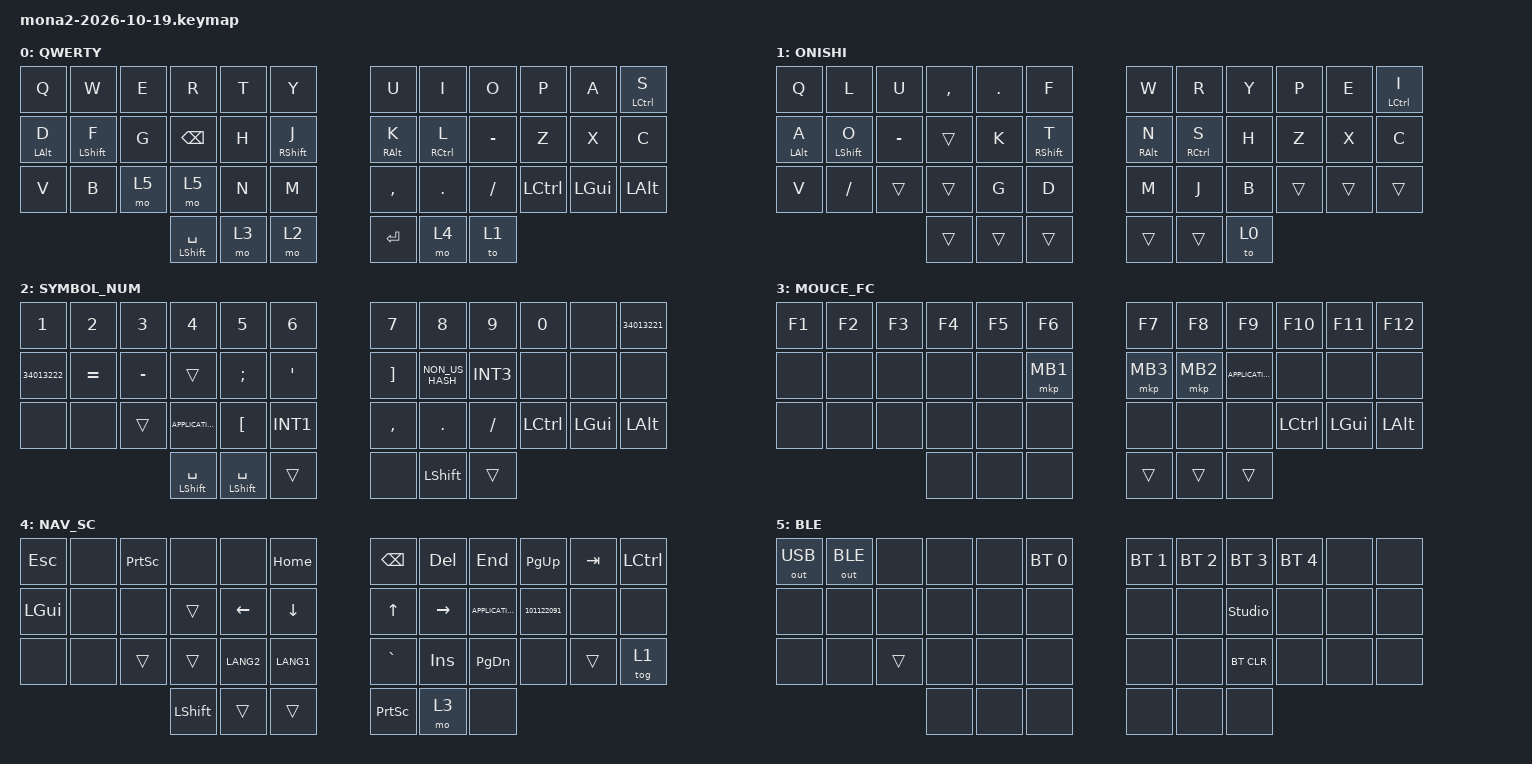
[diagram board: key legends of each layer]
/*
 * Generated by Keyboard Abyss - moNa2 — 2026-10-19 v2
 * https://abyss.keyboard-hub.com/keymap/01M5A1RRRCXY7TNHQ26MSEYFZY
 */

/ {
    keymap {
        compatible = "zmk,keymap";

        qwerty_layer {
            display-name = "QWERTY";
            bindings = <
                &kp Q    &kp W    &kp E    &kp R    &kp T    &kp Y    &kp U    &kp I    &kp O    &kp P    &kp A    &mt LEFT_CONTROL S
                &mt LEFT_ALT D    &mt LEFT_SHIFT F    &kp G    &kp BACKSPACE    &kp H    &mt RIGHT_SHIFT J    &mt RIGHT_ALT K    &mt RIGHT_CONTROL L    &kp MINUS    &kp Z    &kp X    &kp C
                &kp V    &kp B    &mo 5    &mo 5    &kp N    &kp M    &kp COMMA    &kp PERIOD    &kp SLASH    &kp LEFT_CONTROL    &kp LEFT_GUI    &kp LEFT_ALT
                &mt LEFT_SHIFT SPACE    &mo 3    &mo 2    &kp RETURN    &mo 4    &to 1
            >;
        };

        onishi_layer {
            display-name = "ONISHI";
            bindings = <
                &kp Q    &kp L    &kp U    &kp COMMA    &kp PERIOD    &kp F    &kp W    &kp R    &kp Y    &kp P    &kp E    &mt LEFT_CONTROL I
                &mt LEFT_ALT A    &mt LEFT_SHIFT O    &kp MINUS    &trans    &kp K    &mt RIGHT_SHIFT T    &mt RIGHT_ALT N    &mt RIGHT_CONTROL S    &kp H    &kp Z    &kp X    &kp C
                &kp V    &kp SLASH    &trans    &trans    &kp G    &kp D    &kp M    &kp J    &kp B    &trans    &trans    &trans
                &trans    &trans    &trans    &trans    &trans    &to 0
            >;
        };

        symbol_num_layer {
            display-name = "SYMBOL_NUM";
            bindings = <
                &kp N1    &kp N2    &kp N3    &kp N4    &kp N5    &kp N6    &kp N7    &kp N8    &kp N9    &kp N0    &none    &kp 34013221
                &kp 34013222    &kp EQUAL    &kp MINUS    &trans    &kp SEMICOLON    &kp SQT    &kp RIGHT_BRACKET    &kp NON_US_HASH    &kp INT3    &none    &none    &none
                &none    &none    &trans    &kp K_APPLICATION    &kp LEFT_BRACKET    &kp INT1    &kp COMMA    &kp PERIOD    &kp SLASH    &kp LEFT_CONTROL    &kp LEFT_GUI    &kp LEFT_ALT
                &mt LEFT_SHIFT SPACE    &mt LEFT_SHIFT SPACE    &trans    &none    &kp LEFT_SHIFT    &trans
            >;
        };

        mouce_fc_layer {
            display-name = "MOUCE_FC";
            bindings = <
                &kp F1    &kp F2    &kp F3    &kp F4    &kp F5    &kp F6    &kp F7    &kp F8    &kp F9    &kp F10    &kp F11    &kp F12
                &none    &none    &none    &none    &none    &mkp MB1    &mkp MB3    &mkp MB2    &kp K_APPLICATION    &none    &none    &none
                &none    &none    &none    &none    &none    &none    &none    &none    &none    &kp LEFT_CONTROL    &kp LEFT_GUI    &kp LEFT_ALT
                &none    &none    &none    &trans    &trans    &trans
            >;
        };

        nav_sc_layer {
            display-name = "NAV_SC";
            bindings = <
                &kp ESCAPE    &none    &kp PRINTSCREEN    &none    &none    &kp HOME    &kp BACKSPACE    &kp DELETE    &kp END    &kp PAGE_UP    &kp TAB    &kp LEFT_CONTROL
                &kp LEFT_GUI    &none    &none    &trans    &kp LEFT    &kp DOWN    &kp UP    &kp RIGHT    &kp K_APPLICATION    &kp 101122091    &none    &none
                &none    &none    &trans    &trans    &kp LANG2    &kp LANG1    &kp GRAVE    &kp INS    &kp PAGE_DOWN    &none    &trans    &tog 1
                &kp LEFT_SHIFT    &trans    &trans    &kp PRINTSCREEN    &mo 3    &none
            >;
        };

        ble_layer {
            display-name = "BLE";
            bindings = <
                &out OUT_USB    &out OUT_BLE    &none    &none    &none    &bt BT_SEL 0    &bt BT_SEL 1    &bt BT_SEL 2    &bt BT_SEL 3    &bt BT_SEL 4    &none    &none
                &none    &none    &none    &none    &none    &none    &none    &none    &studio_unlock    &none    &none    &none
                &none    &none    &trans    &none    &none    &none    &none    &none    &bt BT_CLR    &none    &none    &none
                &none    &none    &none    &none    &none    &none
            >;
        };
    };
};
